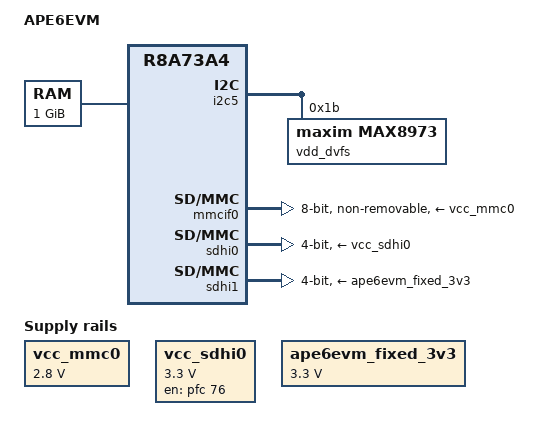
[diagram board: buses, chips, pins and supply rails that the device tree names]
/*
 * Device Tree Source for the APE6EVM board
 *
 * Copyright (C) 2013 Renesas Solutions Corp.
 *
 * This file is licensed under the terms of the GNU General Public License
 * version 2.  This program is licensed "as is" without any warranty of any
 * kind, whether express or implied.
 */

/dts-v1/;
#include "r8a73a4.dtsi"
#include <dt-bindings/gpio/gpio.h>

/ {
	model = "APE6EVM";
	compatible = "renesas,ape6evm-reference", "renesas,r8a73a4";

	chosen {
		bootargs = "console=ttySC0,115200 ignore_loglevel rw";
	};

	memory@40000000 {
		device_type = "memory";
		reg = <0 0x40000000 0 0x40000000>;
	};

	vcc_mmc0: regulator@0 {
		compatible = "regulator-fixed";
		regulator-name = "MMC0 Vcc";
		regulator-min-microvolt = <2800000>;
		regulator-max-microvolt = <2800000>;
		regulator-always-on;
	};

	vcc_sdhi0: regulator@1 {
		compatible = "regulator-fixed";

		regulator-name = "SDHI0 Vcc";
		regulator-min-microvolt = <3300000>;
		regulator-max-microvolt = <3300000>;

		gpio = <&pfc 76 GPIO_ACTIVE_HIGH>;
		enable-active-high;
	};

	/* Common 3.3V rail, used by several devices on APE6EVM */
	ape6evm_fixed_3v3: regulator@2 {
		compatible = "regulator-fixed";
		regulator-name = "3V3";
		regulator-min-microvolt = <3300000>;
		regulator-max-microvolt = <3300000>;
		regulator-always-on;
	};

	lbsc {
		compatible = "simple-bus";
		#address-cells = <1>;
		#size-cells = <1>;
		ranges = <0 0 0 0x80000000>;
	};
};

&i2c5 {
	status = "okay";
	vdd_dvfs: max8973@1b {
		compatible = "maxim,max8973";
		reg = <0x1b>;

		regulator-min-microvolt = <935000>;
		regulator-max-microvolt = <1200000>;
		regulator-boot-on;
		regulator-always-on;
	};
};

&cpu0 {
	cpu0-supply = <&vdd_dvfs>;
	operating-points = <
		/* kHz  uV */
		1950000 1115000
		1462500  995000
	>;
	voltage-tolerance = <1>; /* 1% */
};

&pfc {
	pinctrl-0 = <&scifa0_pins>;
	pinctrl-names = "default";

	scifa0_pins: serial0 {
		renesas,groups = "scifa0_data";
		renesas,function = "scifa0";
	};

	mmc0_pins: mmc {
		renesas,groups = "mmc0_data8", "mmc0_ctrl";
		renesas,function = "mmc0";
	};

	sdhi0_pins: sd0 {
		renesas,groups = "sdhi0_data4", "sdhi0_ctrl", "sdhi0_cd";
		renesas,function = "sdhi0";
	};

	sdhi1_pins: sd1 {
		renesas,groups = "sdhi1_data4", "sdhi1_ctrl";
		renesas,function = "sdhi1";
	};
};

&mmcif0 {
	vmmc-supply = <&vcc_mmc0>;
	bus-width = <8>;
	non-removable;
	pinctrl-names = "default";
	pinctrl-0 = <&mmc0_pins>;
	status = "okay";
};

&sdhi0 {
	vmmc-supply = <&vcc_sdhi0>;
	bus-width = <4>;
	toshiba,mmc-wrprotect-disable;
	pinctrl-names = "default";
	pinctrl-0 = <&sdhi0_pins>;
	status = "okay";
};

&sdhi1 {
	vmmc-supply = <&ape6evm_fixed_3v3>;
	bus-width = <4>;
	broken-cd;
	toshiba,mmc-wrprotect-disable;
	pinctrl-names = "default";
	pinctrl-0 = <&sdhi1_pins>;
	status = "okay";
};
